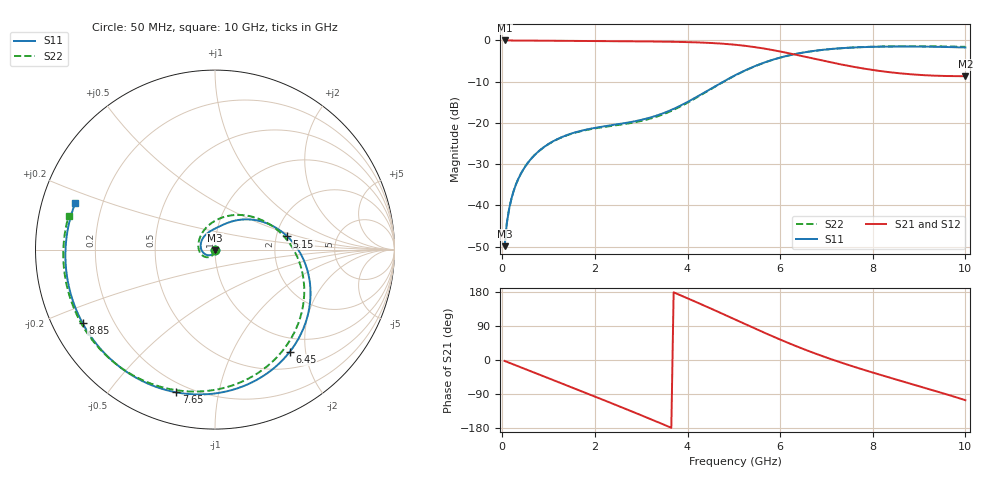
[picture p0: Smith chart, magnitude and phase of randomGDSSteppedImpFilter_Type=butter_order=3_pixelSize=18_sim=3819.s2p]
! freq	dB(S11)	phase(S11)	dB(S12)	phase(S12)
!  dB(S21)	phase(S21)	dB(S22)	phase(S22)
!S-par simulation data
#  GHz  S  DB  R 50
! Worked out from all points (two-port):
!   200 points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, 50 MHz to 10 GHz, reference 50 ohm
!   highest |S21| = -0.01 dB at 50 MHz (marker M1); lowest = -8.7 dB at 10 GHz (marker M2)
!   |S21| within 3 dB of the highest: start of sweep to 6.144 GHz
!   lowest |S11| = -49.9 dB at 50 MHz (marker M3), VSWR 1.01, Z = 50 - j0.32 ohm
!   |S11| at or under -10 dB: start of sweep to 4.769 GHz
!   |S22| runs from -49.9 to -1.4 dB; largest |S21 - S12| = 0
!   S11 on the Smith chart (normalised r, x): 50 MHz: 1.00, -0.01; 5.15 GHz: 2.30, +0.41; 6.45 GHz: 0.75, -1.71; 7.65 GHz: 0.15, -0.75; 8.85 GHz: 0.09, -0.26; 10 GHz: 0.10, +0.16
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0.05  -49.87 -87.0  -0.01 -2.5  -0.01 -2.5  -49.86 -86.0
0.1  -44.14 -92.4  -0.01 -4.9  -0.01 -4.9  -44.12 -90.7
0.2  -38.24 -100.0  -0.02 -9.7  -0.02 -9.7  -38.21 -96.6
0.5  -30.49 -118.7  -0.04 -24.1  -0.04 -24.1  -30.47 -110.2
1.15  -24.14 -156.9  -0.08 -55.4  -0.08 -55.4  -24.17 -136.6
1.75  -21.77 167.9  -0.12 -84.4  -0.12 -84.4  -21.86 -160.1
2.5  -20.30 124.8  -0.18 -121.0  -0.18 -121.0  -20.51 169.0
2.95  -19.39 101.8  -0.22 -143.3  -0.22 -143.3  -19.64 147.0
3.4  -17.96 82.4  -0.28 -166.0  -0.28 -166.0  -18.22 120.8
3.8  -16.07 67.4  -0.35 173.3  -0.35 173.3  -16.28 94.6
4.15  -13.99 54.4  -0.45 154.9  -0.45 154.9  -14.15 71.1
4.65  -10.75 33.8  -0.71 127.8  -0.71 127.8  -10.84 38.3
5.05  -8.32 15.2  -1.07 105.6  -1.07 105.6  -8.37 13.3
5.15  -7.76 10.4  -1.19 100.1  -1.19 100.1  -7.81 7.2
5.8  -4.82 -22.2  -2.25 64.5  -2.25 64.5  -4.85 -30.4
6.45  -3.02 -53.9  -3.74 31.4  -3.74 31.4  -3.04 -63.8
6.7  -2.58 -65.4  -4.36 19.7  -4.36 19.7  -2.59 -75.5
7.65  -1.68 -105.2  -6.52 -20.0  -6.52 -20.0  -1.66 -114.2
8.35  -1.48 -132.0  -7.69 -45.9  -7.69 -45.9  -1.44 -138.7
8.85  -1.47 -150.9  -8.23 -63.8  -8.23 -63.8  -1.40 -155.1
9.45  -1.56 -174.5  -8.58 -85.3  -8.58 -85.3  -1.44 -174.6
10  -1.72 161.7  -8.67 -106.0  -8.67 -106.0  -1.55 166.9
